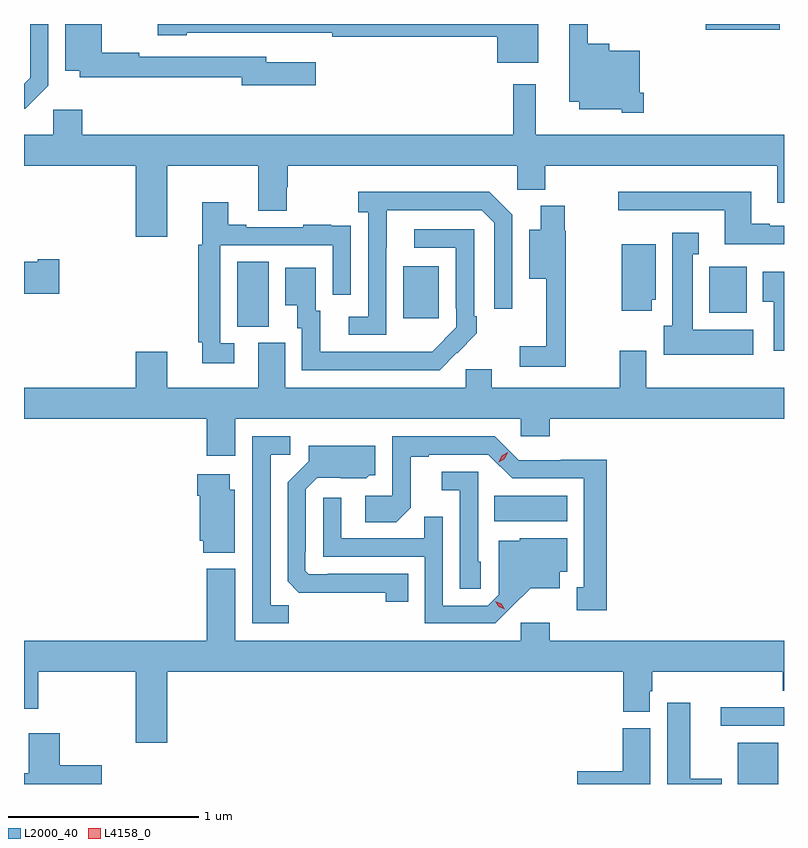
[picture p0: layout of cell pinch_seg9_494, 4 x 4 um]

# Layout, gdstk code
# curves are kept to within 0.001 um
import gdstk
lib = gdstk.Library(unit=1e-6, precision=1e-09)
def R(c, l, rs):  # rectangles x0, y0, x1, y1
    for r in rs: c.add(gdstk.rectangle(r[:2], r[2:], *l))
def P(c, l, *ps):  # polygons
    for p in ps: c.add(gdstk.Polygon(p, *l))
L2000_40 = (2000, 40)
L4158_0 = (4158, 0)

pinch_seg9_494 = lib.new_cell('pinch_seg9_494')
R(pinch_seg9_494, L2000_40, [(276.068,1195.83,276.28,1196.047), (275.979,1196.136,276.311,1196.234), (274.786,1197.212,275.17,1197.346), (273.434,1198.237,273.598,1198.58), (274.307,1198.281,274.495,1198.555), (275.918,1198.31,276.115,1198.552), (275.9,1199.801,276.289,1199.83)])
P(pinch_seg9_494, L2000_40, [(275.017,1199.83),(273.014,1199.83),(273.014,1199.771),(273.168,1199.771),(273.168,1199.784),(273.682,1199.784),(273.682,1199.783),(273.934,1199.783),(273.934,1199.764),(274.802,1199.764),(274.802,1199.627),(275.017,1199.627)],
  [(272.439,1199.505),(272.439,1199.83),(272.343,1199.83),(272.343,1199.547),(272.311,1199.515),(272.311,1199.384),(272.318,1199.384)],
  [(275.573,1199.467),(275.551,1199.467),(275.551,1199.689),(275.392,1199.689),(275.392,1199.725),(275.277,1199.725),(275.277,1199.83),(275.18,1199.83),(275.18,1199.42),(275.234,1199.42),(275.234,1199.381),(275.457,1199.381),(275.457,1199.363),(275.573,1199.363)],
  [(273.847,1199.629),(273.586,1199.629),(273.586,1199.658),(272.918,1199.658),(272.918,1199.678),(272.72,1199.678),(272.72,1199.83),(272.528,1199.83),(272.528,1199.585),(272.604,1199.585),(272.604,1199.55),(273.458,1199.55),(273.458,1199.507),(273.847,1199.507)],
  [(273.064,1199.084),(273.545,1199.084),(273.545,1198.846),(273.693,1198.846),(273.693,1198.971),(273.698,1198.971),(273.698,1199.084),(274.908,1199.084),(274.908,1198.958),(275.055,1198.958),(275.055,1199.084),(276.275,1199.084),(276.275,1198.89),(276.311,1198.89),(276.311,1199.248),(275.004,1199.248),(275.004,1199.512),(274.885,1199.512),(274.885,1199.248),(272.618,1199.248),(272.618,1199.38),(272.466,1199.38),(272.466,1199.248),(272.311,1199.248),(272.311,1199.084),(272.9,1199.084),(272.9,1198.71),(273.064,1198.71)],
  [(274.218,1198.651),(274.219,1198.851),(274.719,1198.851),(274.785,1198.785),(274.785,1198.332),(274.881,1198.332),(274.881,1198.827),(274.76,1198.948),(274.071,1198.948),(274.071,1198.838),(274.122,1198.838),(274.122,1198.29),(274.02,1198.29),(274.02,1198.194),(274.218,1198.194)],
  [(276.311,1198.767),(276.235,1198.767),(276.235,1198.78),(276.139,1198.78),(276.139,1198.948),(275.439,1198.948),(275.439,1198.851),(275.999,1198.851),(275.999,1198.67),(276.311,1198.67)],
  [(273.418,1198.149),(273.345,1198.149),(273.345,1198.665),(273.936,1198.665),(273.936,1198.404),(274.032,1198.404),(274.032,1198.658),(274.031,1198.658),(274.031,1198.767),(273.929,1198.767),(273.929,1198.774),(273.781,1198.774),(273.781,1198.761),(273.481,1198.761),(273.481,1198.774),(273.385,1198.774),(273.385,1198.891),(273.248,1198.891),(273.248,1198.668),(273.229,1198.668),(273.229,1198.156),(273.248,1198.156),(273.248,1198.044),(273.418,1198.044)],
  [(275.162,1198.743),(275.158,1198.743),(275.158,1198.873),(275.03,1198.873),(275.03,1198.747),(274.97,1198.747),(274.97,1198.49),(275.06,1198.49),(275.06,1198.135),(274.92,1198.135),(274.92,1198.026),(275.162,1198.026)],
  [(274.589,1198.099),(274.59,1198.098),(274.695,1198.203),(274.695,1198.291),(274.68,1198.291),(274.68,1198.749),(274.365,1198.749),(274.365,1198.653),(274.584,1198.653),(274.584,1198.333),(274.587,1198.333),(274.587,1198.233),(274.459,1198.105),(273.871,1198.104),(273.871,1198.32),(273.847,1198.32),(273.847,1198.546),(273.686,1198.546),(273.686,1198.349),(273.749,1198.349),(273.749,1198.23),(273.774,1198.23),(273.774,1198.008),(274.498,1198.008)],
  [(276.148,1198.222),(275.83,1198.222),(275.83,1198.619),(275.863,1198.619),(275.863,1198.732),(275.723,1198.732),(275.723,1198.242),(275.678,1198.242),(275.678,1198.088),(276.148,1198.088)],
  [(275.614,1198.38),(275.635,1198.38),(275.635,1198.672),(275.456,1198.672),(275.456,1198.32),(275.614,1198.32)],
  [(272.497,1198.592),(272.384,1198.592),(272.384,1198.579),(272.311,1198.579),(272.311,1198.409),(272.497,1198.409)],
  [(276.311,1198.525),(276.2,1198.525),(276.2,1198.369),(276.257,1198.369),(276.257,1198.11),(276.311,1198.11)],
  [(273.424,1197.752),(274.926,1197.752),(274.926,1197.659),(275.078,1197.659),(275.078,1197.752),(276.311,1197.752),(276.311,1197.916),(275.587,1197.916),(275.587,1198.111),(275.447,1198.111),(275.447,1197.916),(274.774,1197.916),(274.774,1198.014),(274.635,1198.014),(274.635,1197.916),(273.685,1197.916),(273.685,1198.152),(273.545,1198.152),(273.545,1197.916),(273.064,1197.916),(273.064,1198.105),(272.9,1198.105),(272.9,1197.916),(272.311,1197.916),(272.311,1197.752),(273.272,1197.752),(273.272,1197.558),(273.424,1197.558)],
  [(275.377,1197.536),(275.136,1197.536),(275.136,1197.534),(274.914,1197.534),(274.788,1197.66),(274.248,1197.66),(274.248,1197.348),(274.107,1197.348),(274.107,1197.208),(274.271,1197.208),(274.347,1197.284),(274.347,1197.552),(274.441,1197.552),(274.441,1197.564),(274.755,1197.564),(274.881,1197.438),(275.258,1197.438),(275.258,1196.865),(275.219,1196.865),(275.219,1196.745),(275.377,1196.745)],
  [(273.705,1196.771),(273.609,1196.771),(273.609,1197.564),(273.712,1197.564),(273.712,1197.66),(273.513,1197.66),(273.513,1196.676),(273.705,1196.676)],
  [(274.334,1196.937),(273.91,1196.937),(273.91,1196.934),(273.81,1196.934),(273.792,1196.952),(273.792,1197.052),(273.795,1197.052),(273.795,1197.381),(273.855,1197.441),(274.112,1197.44),(274.128,1197.456),(274.159,1197.456),(274.159,1197.61),(273.809,1197.61),(273.809,1197.528),(273.699,1197.418),(273.699,1196.896),(273.758,1196.837),(274.216,1196.836),(274.216,1196.79),(274.334,1196.79)],
  [(274.716,1197),(274.701,1197),(274.701,1197.474),(274.509,1197.474),(274.509,1197.377),(274.605,1197.377),(274.605,1196.857),(274.716,1196.857)],
  [(273.421,1197.378),(273.394,1197.378),(273.394,1197.46),(273.224,1197.46),(273.224,1197.347),(273.236,1197.347),(273.236,1197.111),(273.254,1197.111),(273.254,1197.047),(273.421,1197.047)],
  [(274.876,1196.759),(274.979,1196.861),(275.131,1196.861),(275.131,1196.948),(275.17,1196.948),(275.17,1197.124),(274.92,1197.124),(274.92,1197.109),(274.809,1197.109),(274.809,1196.826),(274.752,1196.769),(274.515,1196.769),(274.515,1197.236),(274.417,1197.236),(274.417,1197.123),(273.981,1197.123),(273.981,1197.337),(273.885,1197.337),(273.885,1197.027),(274.419,1197.027),(274.419,1196.676),(274.792,1196.676)],
  [(273.064,1196.42),(275.465,1196.42),(275.465,1196.209),(275.605,1196.209),(275.605,1196.319),(275.618,1196.319),(275.618,1196.42),(276.305,1196.42),(276.305,1196.321),(276.311,1196.321),(276.311,1196.584),(275.078,1196.584),(275.078,1196.68),(274.926,1196.68),(274.926,1196.584),(273.424,1196.584),(273.424,1196.962),(273.272,1196.962),(273.272,1196.584),(272.311,1196.584),(272.311,1196.226),(272.387,1196.226),(272.387,1196.42),(272.9,1196.42),(272.9,1196.046),(273.064,1196.046)],
  [(275.983,1195.858),(275.818,1195.858),(275.818,1196.257),(275.696,1196.257),(275.696,1195.83),(275.983,1195.83)],
  [(275.608,1196.124),(275.462,1196.124),(275.462,1195.897),(275.222,1195.897),(275.222,1195.83),(275.608,1195.83)],
  [(272.719,1195.928),(272.499,1195.928),(272.499,1196.098),(272.336,1196.098),(272.336,1195.887),(272.311,1195.887),(272.311,1195.83),(272.719,1195.83)])
P(pinch_seg9_494, L4158_0, [(274.809,1197.524),(274.809,1197.524),(274.826,1197.557),(274.857,1197.576),(274.857,1197.576),(274.857,1197.576),(274.84,1197.543),(274.809,1197.524)],
  [(274.841,1196.749),(274.81,1196.763),(274.792,1196.792),(274.792,1196.793),(274.792,1196.793),(274.823,1196.778),(274.841,1196.749),(274.841,1196.749)])

lib.write_gds('pinch_seg9_494.gds')
